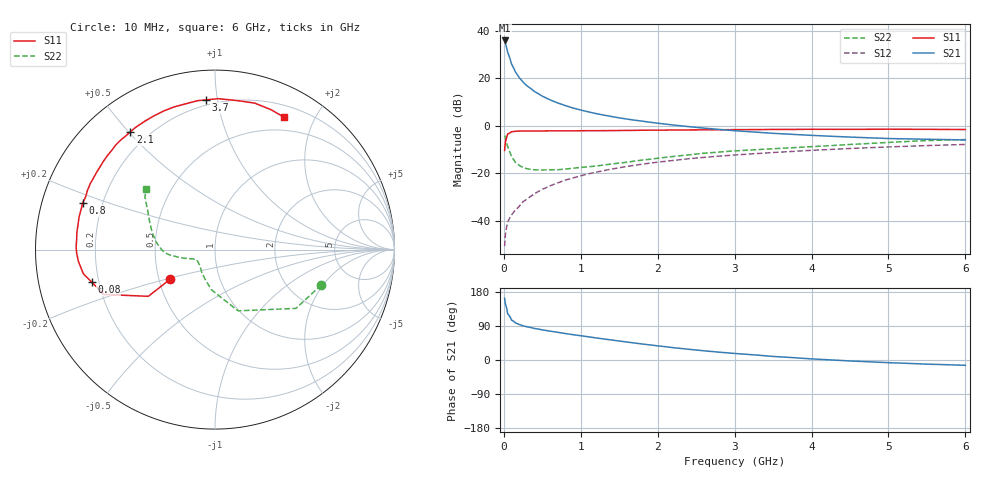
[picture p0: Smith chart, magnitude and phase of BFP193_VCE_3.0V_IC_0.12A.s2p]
! Infineon Technologies  Discrete & RF Semiconductors
! BFP193
! VCE =  3.0 V,  IC = 0.12 A
! Common Emitter S-Parameters:  Jan 2017
# GHz  S  MA  R  50
!  f  S11  S21  S12  S22
! GHz  MAG  ANG  MAG  ANG  MAG  ANG  MAG  ANG
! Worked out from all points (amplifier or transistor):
!   77 points, 10 MHz to 6 GHz, reference 50 ohm
!   highest |S21| = 35.9 dB at 10 MHz (marker M1)
!   |S21| within 3 dB of that: start of sweep to 35.41 MHz
!   unconditionally stable (mu >= 1): start of sweep to 17.16 MHz; 153.3 MHz to 3.963 GHz; 4.027 GHz to end of sweep
!   at 130 MHz: K = 0.93, MSG = 30.2 dB, |S12| = -36.3 dB
!   at 2.2 GHz: K = 1.07, MAG = 5.9 dB, |S12| = -14.6 dB
!   at 6 GHz: K = 1.04, MAG = -0.2 dB, |S12| = -7.9 dB
!   S11 on the Smith chart (normalised r, x): 10 MHz: 0.57, -0.21; 80 MHz: 0.17, -0.13; 800 MHz: 0.13, +0.17; 2.1 GHz: 0.13, +0.50; 3.7 GHz: 0.17, +0.93; 6 GHz: 0.33, +1.60
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0.01  0.3018 -146.5  62.54 162.8  0.0029 70.9  0.624 -18.4
0.02  0.4538 -145.0  56.12 148.1  0.0051 62.7  0.5574 -36.0
0.05  0.667 -158.0  35.34 121.7  0.0093 55.4  0.3647 -69.3
0.08  0.7108 -165.3  25.84 114.2  0.0116 58.2  0.2732 -81.8
0.1  0.7457 -169.6  19.95 105.3  0.0131 59.5  0.2241 -95.3
0.15  0.7639 -175.1  13.65 98.2  0.0167 63.5  0.1701 -109.9
0.2  0.7711 -178.6  10.34 93.7  0.02 67.8  0.1462 -120.5
0.25  0.774 178.8  8.305 90.2  0.0251 67.8  0.1321 -127.2
0.3  0.7728 176.4  6.93 87.7  0.0283 71.0  0.1239 -133.4
0.4  0.7753 172.9  5.233 83.2  0.037 71.8  0.1178 -140.6
0.5  0.7758 169.3  4.193 79.5  0.0456 71.7  0.1167 -145.6
0.6  0.7791 166.4  3.514 76.2  0.0541 71.8  0.1181 -149.5
0.7  0.7787 163.7  3.018 73.1  0.0624 71.7  0.1183 -152.0
0.8  0.7812 160.5  2.65 69.8  0.0715 71.5  0.1221 -153.3
1.1  0.7861 152.2  1.956 61.2  0.0969 68.5  0.1365 -157.8
1.5  0.7929 141.6  1.463 50.1  0.1302 63.4  0.1632 -162.9
2.1  0.8077 125.8  1.081 35.1  0.1779 55.2  0.2155 -169.1
3.1  0.8269 104.1  0.765 15.8  0.2474 41.6  0.301 179.0
3.7  0.8357 93.6  0.665 7.0  0.2843 34.1  0.3404 169.8
4.1  0.8396 87.3  0.616 1.9  0.3082 29.1  0.3694 162.9
5.1  0.8435 73.5  0.533 -7.8  0.362 16.8  0.4529 147.2
6  0.8318 62.4  0.502 -14.0  0.4032 6.2  0.51 138.7
